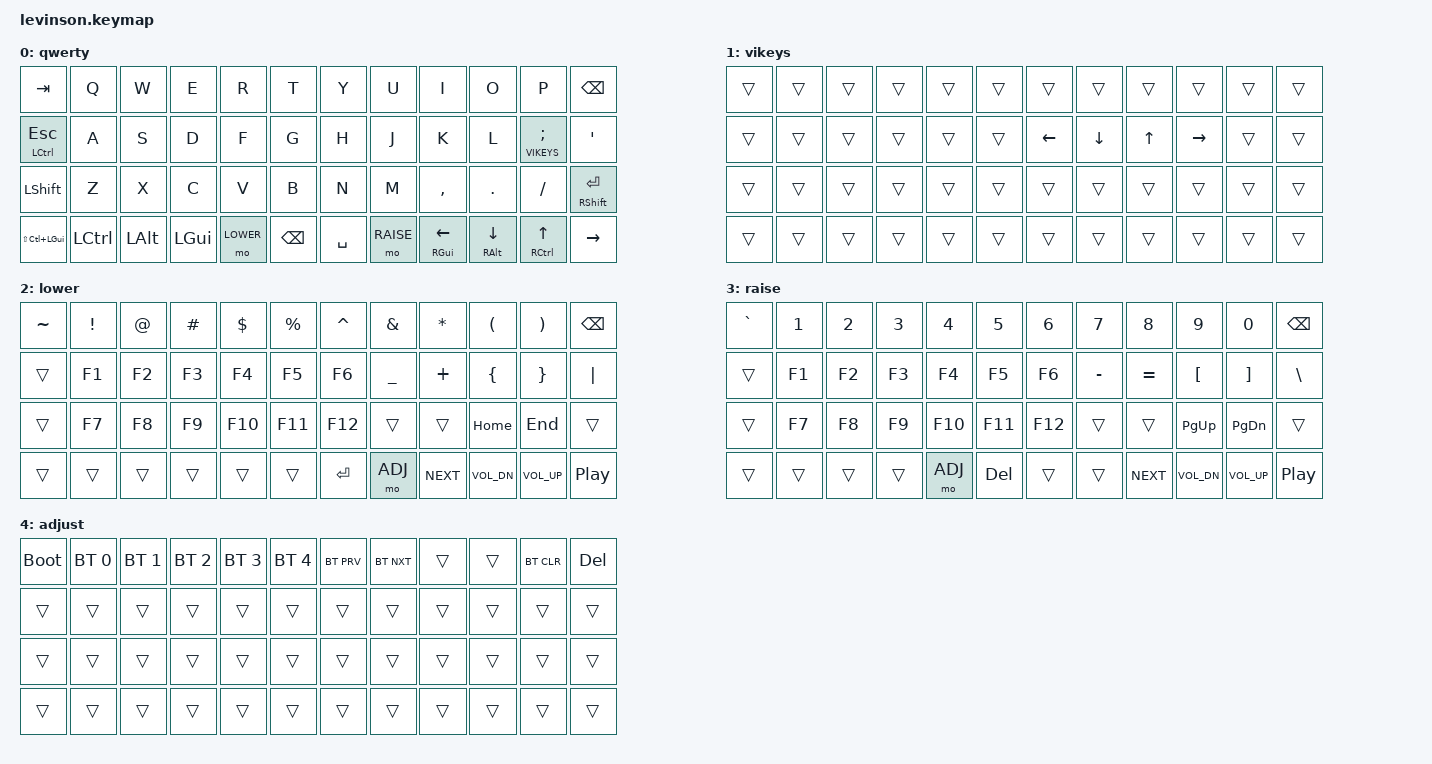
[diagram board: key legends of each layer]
/*
 * Copyright (c) 2021 The ZMK Contributors
 *
 * SPDX-License-Identifier: MIT
 */

#include <behaviors.dtsi>
#include <dt-bindings/zmk/outputs.h>
#include <dt-bindings/zmk/rgb.h>
#include <dt-bindings/zmk/keys.h>
#include <dt-bindings/zmk/bt.h>

//Layer definitions
#define QWERTY 0
#define VIKEYS 1 
#define LOWER 2
#define RAISE 3
#define ADJ 4

/ {
    keymap {
        compatible = "zmk,keymap";

        qwerty {
//  --------------------------------------------------------   -------------------------------------------------------------------------
// | TAB               | Q     | W    | E    | R     | T    | | Y     | U     | I           | O           | P          | BSPC           |
// | LCTRL / ESC       | A     | S    | D    | F     | G    | | H     | J     | K           | L           | VIKEYS / ; | '              |
// | LSHFT             | Z     | X    | C    | V     | B    | | N     | M     | ,           | .           | /          | RSHIFT / ENTER |
// | LCTRL+LSHFT+LGUI  | LCTRL | LALT | LGUI | LOWER | BSPC | | SPACE | RAISE | RGUI / LEFT | RALT / DOWN | RCTRL / UP | RIGHT          |
//  --------------------------------------------------------   -------------------------------------------------------------------------
            bindings = <
    &kp TAB           &kp Q       &kp W       &kp E       &kp R       &kp T       &kp Y       &kp U       &kp I            &kp O            &kp P              &kp BSPC  
    &mt LCTRL ESC     &kp A       &kp S       &kp D       &kp F       &kp G       &kp H       &kp J       &kp K            &kp L            &lt VIKEYS SEMI    &kp SQT   
    &kp LSHFT         &kp Z       &kp X       &kp C       &kp V       &kp B       &kp N       &kp M       &kp COMMA        &kp DOT          &kp FSLH           &mt RSHIFT ENTER 
    &kp LS(LC(LGUI))  &kp LCTRL   &kp LALT    &kp LGUI    &mo LOWER   &kp BSPC    &kp SPACE   &mo RAISE   &mt RGUI LEFT    &mt RALT DOWN    &mt RCTRL UP       &kp RIGHT
            >;
        };

       vikeys {
//  -----------------------------------     ---------------------------------------
// |     |     |     |     |     |     |   |      |      |     |       |     |     |
// |     |     |     |     |     |     |   | LEFT | DOWN | UP  | RIGHT |     |     |
// |     |     |     |     |     |     |   |      |      |     |       |     |     |
// |     |     |     |     |     |     |   |      |      |     |       |     |     |
//  -----------------------------------     ---------------------------------------
            bindings = <
    &trans  &trans  &trans  &trans  &trans  &trans    &trans    &trans    &trans  &trans     &trans  &trans
    &trans  &trans  &trans  &trans  &trans  &trans    &kp LEFT  &kp DOWN  &kp UP  &kp RIGHT  &trans  &trans
    &trans  &trans  &trans  &trans  &trans  &trans    &trans    &trans    &trans  &trans     &trans  &trans
    &trans  &trans  &trans  &trans  &trans  &trans    &trans    &trans    &trans  &trans     &trans  &trans
            >;
        }; 

        lower {
// -------------------------------------   -------------------------------------
// |  ~  |  !  |  @  |  #  |  $  |  %  |   |  ^    |  &  |  *  |  (  |  )  | BSPC|
// |     |  F1 |  F2 |  F3 |  F4 |  F5 |   |  F6   |  _  |  +  |  {  |  }  |  |  |
// |     |  F7 |  F8 |  F9 | F10 | F11 |   | F12   |     |     | HOME| END |     |
// |     |     |     |     |     |     |   | ENTER | ADJ | NEXT| Vol-| Vol+| PLAY|
// -------------------------------------   -------------------------------------
            bindings = <
    &kp TILDE       &kp EXCL    &kp AT      &kp HASH    &kp DOLLAR  &kp PERCENT &kp CARET   &kp AMPS            &kp STAR            &kp LPAR        &kp RPAR        &kp BSPC  
    &trans          &kp F1      &kp F2      &kp F3      &kp F4      &kp F5      &kp F6      &kp UNDER           &kp PLUS            &kp LBRC        &kp RBRC        &kp PIPE   
    &trans          &kp F7      &kp F8      &kp F9      &kp F10     &kp F11     &kp F12     &trans              &trans              &kp HOME        &kp END         &trans
    &trans          &trans      &trans      &trans      &trans      &trans      &kp ENTER   &mo ADJ             &kp C_NEXT          &kp C_VOL_DN    &kp C_VOL_UP    &kp C_PLAY_PAUSE
            >;
        };

        raise {
// -------------------------------------   -------------------------------------
// |  `  |  1  |  2  |  3  |  4  |  5  |   |  6  |  7  |  8  |  9  |  0  | BSPC|
// |     |  F1 |  F2 |  F3 |  F4 |  F5 |   |  F6 |  -  |  =  |  [  |  ]  |   \ |
// |     |  F7 |  F8 |  F9 | F10 | F11 |   | F12 |     |     | PGUP| PGDN|     |
// |     |     |     |     | ADJ | DEL |   |     |     | NEXT| Vol-| Vol+| PLAY|
// -------------------------------------   -------------------------------------
            bindings = <
    &kp GRAVE   &kp N1      &kp N2      &kp N3      &kp N4      &kp N5      &kp N6      &kp N7          &kp N8          &kp N9          &kp N0          &kp BSPC  
    &trans      &kp F1      &kp F2      &kp F3      &kp F4      &kp F5      &kp F6      &kp MINUS       &kp EQUAL       &kp LBKT        &kp RBKT        &kp BSLH   
    &trans      &kp F7      &kp F8      &kp F9      &kp F10     &kp F11     &kp F12     &trans          &trans          &kp PG_UP       &kp PG_DN       &trans
    &trans      &trans      &trans      &trans      &mo ADJ     &kp DEL     &trans      &trans          &kp C_NEXT      &kp C_VOL_DN    &kp C_VOL_UP    &kp C_PLAY_PAUSE
            >;
        };

       adjust {
//  --------------------------------------  ----------------------------------------
// | RESET | BT1 | BT2 | BT3 | BT4 | BT5 |  | BT PREV | BT NEXT | | | BT CLEAR | DEL |
// |       |     |     |     |     |     |  |         |         | | |          |     |
// |       |     |     |     |     |     |  |         |         | | |          |     |
// |       |     |     |     |     |     |  |         |         | | |          |     |
//  --------------------------------------  ----------------------------------------
            bindings = <
    &bootloader  &bt BT_SEL 0 &bt BT_SEL 1 &bt BT_SEL 2  &bt BT_SEL 3  &bt BT_SEL 4      &bt BT_PRV  &bt BT_NXT  &trans  &trans  &bt BT_CLR  &kp DEL
    &trans       &trans       &trans       &trans        &trans        &trans            &trans      &trans      &trans  &trans  &trans      &trans
    &trans       &trans       &trans       &trans        &trans        &trans            &trans      &trans      &trans  &trans  &trans      &trans
    &trans       &trans       &trans       &trans        &trans        &trans            &trans      &trans      &trans  &trans  &trans      &trans
            >;
        }; 
    };
};
